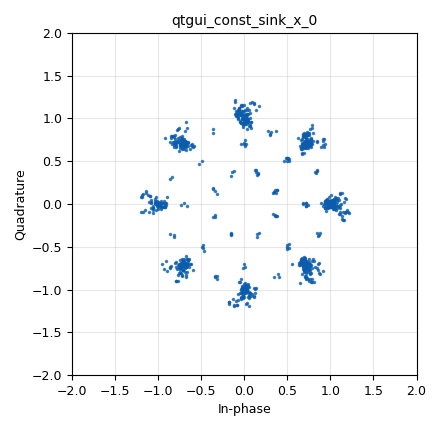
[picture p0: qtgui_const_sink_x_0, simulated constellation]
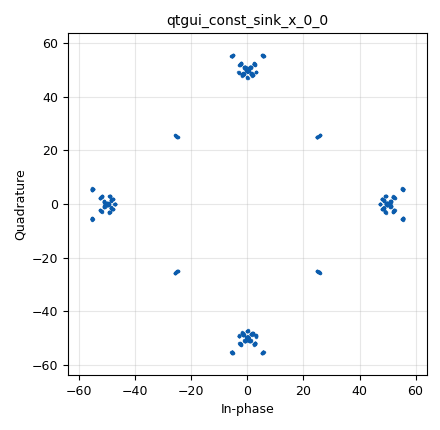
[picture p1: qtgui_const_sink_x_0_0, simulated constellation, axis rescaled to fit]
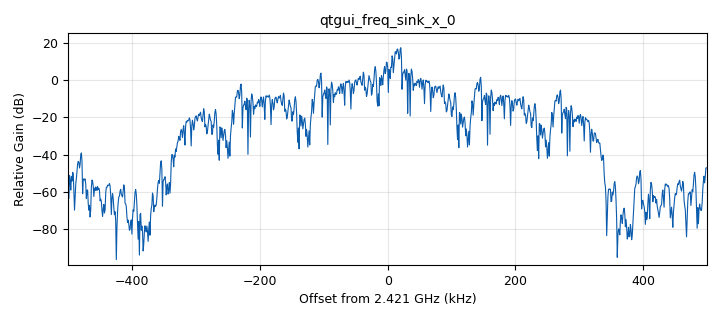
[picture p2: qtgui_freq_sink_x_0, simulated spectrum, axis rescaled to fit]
<?xml version='1.0' encoding='utf-8'?>
<?grc format='1' created='3.7.14'?>
<flow_graph>
<block>
<key>options</key>
<param><key>id</key><value>practice1</value></param>
<param><key>generate_options</key><value>qt_gui</value></param>
</block>
<block>
<key>variable</key>
<param><key>id</key><value>center_freq</value></param>
<param><key>value</key><value>2.421e9</value></param>
</block>
<block>
<key>variable</key>
<param><key>id</key><value>gain</value></param>
<param><key>value</key><value>30</value></param>
</block>
<block>
<key>variable</key>
<param><key>id</key><value>samp_rate</value></param>
<param><key>value</key><value>320000</value></param>
</block>
<block>
<key>analog_noise_source_x</key>
<param><key>id</key><value>analog_noise_source_x_0</value></param>
<param><key>amp</key><value>0.025</value></param>
<param><key>noise_type</key><value>analog.GR_GAUSSIAN</value></param>
<param><key>type</key><value>complex</value></param>
<param><key>seed</key><value>0</value></param>
</block>
<block>
<key>analog_random_source_x</key>
<param><key>id</key><value>analog_random_source_x_0</value></param>
<param><key>max</key><value>2</value></param>
<param><key>min</key><value>0</value></param>
<param><key>num_samps</key><value>1000</value></param>
<param><key>type</key><value>byte</value></param>
<param><key>repeat</key><value>True</value></param>
</block>
<block>
<key>analog_random_source_x</key>
<param><key>id</key><value>analog_random_source_x_0_0</value></param>
<param><key>max</key><value>2</value></param>
<param><key>min</key><value>0</value></param>
<param><key>num_samps</key><value>1000</value></param>
<param><key>type</key><value>byte</value></param>
<param><key>repeat</key><value>True</value></param>
</block>
<block>
<key>blocks_add_xx</key>
<param><key>id</key><value>blocks_add_xx_0</value></param>
<param><key>type</key><value>complex</value></param>
</block>
<block>
<key>blocks_multiply_const_vxx</key>
<param><key>id</key><value>blocks_multiply_const_vxx_0</value></param>
<param><key>const</key><value>50</value></param>
<param><key>type</key><value>complex</value></param>
</block>
<block>
<key>blocks_throttle</key>
<param><key>id</key><value>blocks_throttle_0</value></param>
<param><key>samples_per_second</key><value>samp_rate</value></param>
<param><key>type</key><value>complex</value></param>
</block>
<block>
<key>digital_psk_mod</key>
<param><key>id</key><value>digital_psk_mod_0</value></param>
<param><key>differential</key><value>True</value></param>
<param><key>excess_bw</key><value>0.35</value></param>
<param><key>mod_code</key><value>"gray"</value></param>
<param><key>constellation_points</key><value>8</value></param>
<param><key>samples_per_symbol</key><value>2</value></param>
</block>
<block>
<key>digital_psk_mod</key>
<param><key>id</key><value>digital_psk_mod_0_0</value></param>
<param><key>differential</key><value>True</value></param>
<param><key>excess_bw</key><value>0.35</value></param>
<param><key>mod_code</key><value>"gray"</value></param>
<param><key>constellation_points</key><value>4</value></param>
<param><key>samples_per_symbol</key><value>2</value></param>
</block>
<block>
<key>qtgui_const_sink_x</key>
<param><key>id</key><value>qtgui_const_sink_x_0</value></param>
<param><key>size</key><value>1024</value></param>
<param><key>type</key><value>complex</value></param>
</block>
<block>
<key>qtgui_const_sink_x</key>
<param><key>id</key><value>qtgui_const_sink_x_0_0</value></param>
<param><key>size</key><value>1024</value></param>
<param><key>type</key><value>complex</value></param>
</block>
<block>
<key>qtgui_freq_sink_x</key>
<param><key>id</key><value>qtgui_freq_sink_x_0</value></param>
<param><key>bw</key><value>1e6</value></param>
<param><key>fc</key><value>center_freq</value></param>
<param><key>fftsize</key><value>1024</value></param>
<param><key>showports</key><value>True</value></param>
<param><key>type</key><value>complex</value></param>
<param><key>wintype</key><value>firdes.WIN_BLACKMAN_hARRIS</value></param>
</block>
<block>
<key>uhd_usrp_sink</key>
<param><key>id</key><value>uhd_usrp_sink_0</value></param>
<param><key>ant0</key><value>TX/RX</value></param>
<param><key>bw0</key><value>samp_rate</value></param>
<param><key>center_freq0</key><value>center_freq</value></param>
<param><key>norm_gain0</key><value>False</value></param>
<param><key>gain0</key><value>gain</value></param>
<param><key>clock_rate</key><value>0.0</value></param>
<param><key>dev_addr</key><value>"serial=31DD6A3"</value></param>
<param><key>dev_args</key><value>""</value></param>
<param><key>type</key><value>fc32</value></param>
<param><key>samp_rate</key><value>samp_rate</value></param>
<param><key>hide_cmd_port</key><value>False</value></param>
<param><key>hide_lo_controls</key><value>True</value></param>
<param><key>sync</key><value></value></param>
<param><key>len_tag_name</key><value></value></param>
</block>
<connection><source_block_id>analog_noise_source_x_0</source_block_id><sink_block_id>blocks_add_xx_0</sink_block_id><source_key>0</source_key><sink_key>1</sink_key></connection>
<connection><source_block_id>analog_random_source_x_0</source_block_id><sink_block_id>digital_psk_mod_0</sink_block_id><source_key>0</source_key><sink_key>0</sink_key></connection>
<connection><source_block_id>analog_random_source_x_0_0</source_block_id><sink_block_id>digital_psk_mod_0_0</sink_block_id><source_key>0</source_key><sink_key>0</sink_key></connection>
<connection><source_block_id>blocks_add_xx_0</source_block_id><sink_block_id>blocks_throttle_0</sink_block_id><source_key>0</source_key><sink_key>0</sink_key></connection>
<connection><source_block_id>blocks_multiply_const_vxx_0</source_block_id><sink_block_id>qtgui_const_sink_x_0_0</sink_block_id><source_key>0</source_key><sink_key>0</sink_key></connection>
<connection><source_block_id>blocks_multiply_const_vxx_0</source_block_id><sink_block_id>qtgui_freq_sink_x_0</sink_block_id><source_key>0</source_key><sink_key>0</sink_key></connection>
<connection><source_block_id>blocks_multiply_const_vxx_0</source_block_id><sink_block_id>uhd_usrp_sink_0</sink_block_id><source_key>0</source_key><sink_key>0</sink_key></connection>
<connection><source_block_id>blocks_throttle_0</source_block_id><sink_block_id>qtgui_const_sink_x_0</sink_block_id><source_key>0</source_key><sink_key>0</sink_key></connection>
<connection><source_block_id>digital_psk_mod_0</source_block_id><sink_block_id>blocks_add_xx_0</sink_block_id><source_key>0</source_key><sink_key>0</sink_key></connection>
<connection><source_block_id>digital_psk_mod_0_0</source_block_id><sink_block_id>blocks_multiply_const_vxx_0</sink_block_id><source_key>0</source_key><sink_key>0</sink_key></connection>
</flow_graph>
